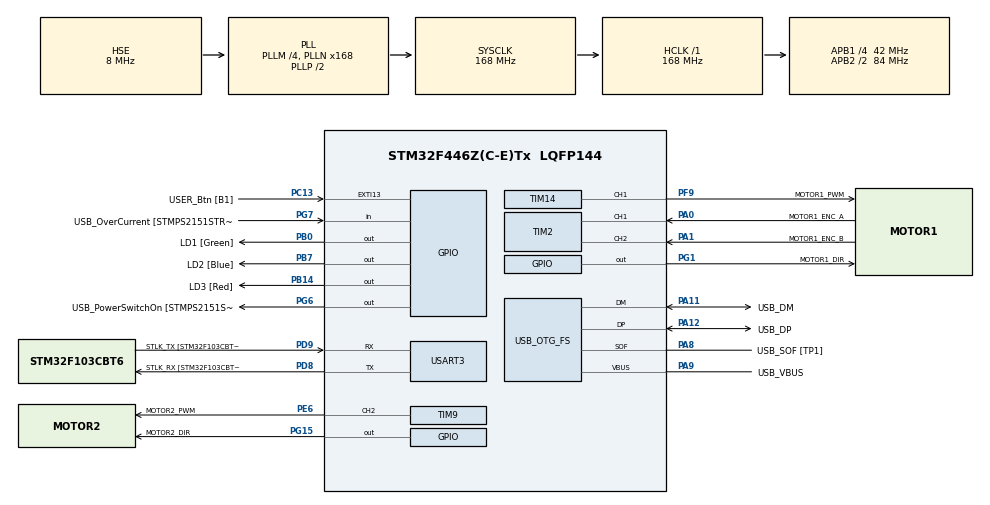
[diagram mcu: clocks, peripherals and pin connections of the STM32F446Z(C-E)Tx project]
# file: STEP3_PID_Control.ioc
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Mcu.Family=STM32F4
Mcu.Name=STM32F446Z(C-E)Tx
Mcu.Package=LQFP144
NVIC.PriorityGroup=NVIC_PRIORITYGROUP_4
NVIC.TIM6_DAC_IRQn=true\:0\:0\:false\:false\:true\:true\:true\:true
PA0-WKUP.GPIO_Label=MOTOR1_ENC_A
PA0-WKUP.GPIO_PuPd=GPIO_PULLUP
PA0-WKUP.Signal=S_TIM2_CH1_ETR
PA1.GPIO_Label=MOTOR1_ENC_B
PA1.GPIO_PuPd=GPIO_PULLUP
PA1.Signal=S_TIM2_CH2
PA10.GPIO_Label=USB_ID
PA10.Signal=USB_OTG_FS_ID
PA11.GPIO_Label=USB_DM
PA11.Mode=Device_Only
PA11.Signal=USB_OTG_FS_DM
PA12.GPIO_Label=USB_DP
PA12.Mode=Device_Only
PA12.Signal=USB_OTG_FS_DP
PA13.GPIO_Label=TMS
PA13.Mode=Serial_Wire
PA13.Signal=SYS_JTMS-SWDIO
PA14.GPIO_Label=TCK
PA14.Mode=Serial_Wire
PA14.Signal=SYS_JTCK-SWCLK
PA8.GPIO_Label=USB_SOF [TP1]
PA8.Mode=Activate_SOF_FS
PA8.Signal=USB_OTG_FS_SOF
PA9.GPIO_Label=USB_VBUS
PA9.Mode=Activate_VBUS
PA9.Signal=USB_OTG_FS_VBUS
PB0.GPIO_Label=LD1 [Green]
PB0.Signal=GPIO_Output
PB14.GPIO_Label=LD3 [Red]
PB14.Signal=GPIO_Output
PB7.GPIO_Label=LD2 [Blue]
PB7.Signal=GPIO_Output
PC13.GPIO_Label=USER_Btn [B1]
PC13.Signal=GPXTI13
PC14-OSC32_IN.Mode=LSE-External-Oscillator
PC14-OSC32_IN.Signal=RCC_OSC32_IN
PC15-OSC32_OUT.Mode=LSE-External-Oscillator
PC15-OSC32_OUT.Signal=RCC_OSC32_OUT
PD8.GPIO_Label=STLK_RX [STM32F103CBT6_PA3]
PD8.Mode=Asynchronous
PD8.Signal=USART3_TX
PD9.GPIO_Label=STLK_TX [STM32F103CBT6_PA2]
PD9.Mode=Asynchronous
PD9.Signal=USART3_RX
PE6.GPIO_Label=MOTOR2_PWM
PE6.GPIO_ModeDefaultPP=GPIO_MODE_AF_PP
PE6.GPIO_PuPd=GPIO_NOPULL
PE6.GPIO_Speed=GPIO_SPEED_FREQ_VERY_HIGH
PE6.Signal=S_TIM9_CH2
PF9.GPIO_Label=MOTOR1_PWM
PF9.GPIO_Speed=GPIO_SPEED_FREQ_VERY_HIGH
PF9.Signal=S_TIM14_CH1
PG1.GPIO_Label=MOTOR1_DIR
PG1.Signal=GPIO_Output
PG15.GPIO_Label=MOTOR2_DIR
PG15.Signal=GPIO_Output
PG6.GPIO_Label=USB_PowerSwitchOn [STMPS2151STR_EN]
PG6.Signal=GPIO_Output
PG7.GPIO_Label=USB_OverCurrent [STMPS2151STR_FAULT]
PG7.Signal=GPIO_Input
PH0-OSC_IN.GPIO_Label=MCO [STM32F103CBT6_PA8]
PH0-OSC_IN.Mode=HSE-External-Clock-Source
PH0-OSC_IN.Signal=RCC_OSC_IN
PH1-OSC_OUT.Mode=HSE-External-Clock-Source
PH1-OSC_OUT.Signal=RCC_OSC_OUT
ProjectManager.HeapSize=0x200
ProjectManager.StackSize=0x400
ProjectManager.TargetToolchain=STM32CubeIDE
RCC.48MHZClocksFreq_Value=24000000
RCC.AHBFreq_Value=168000000
RCC.APB1CLKDivider=RCC_HCLK_DIV4
RCC.APB1Freq_Value=42000000
RCC.APB1TimFreq_Value=84000000
RCC.APB2CLKDivider=RCC_HCLK_DIV2
RCC.APB2Freq_Value=84000000
RCC.APB2TimFreq_Value=168000000
RCC.CortexFreq_Value=168000000
RCC.HCLKFreq_Value=168000000
RCC.HSE_VALUE=8000000
RCC.HSI_VALUE=16000000
RCC.PLLM=4
RCC.PLLMUL=RCC_PLL_MUL9
RCC.PLLN=168
RCC.PLLQ=7
RCC.PRESCALERUSB=RCC_USBCLKSOURCE_PLL_DIV1_5
RCC.SYSCLKFreq_VALUE=168000000
RCC.SYSCLKSource=RCC_SYSCLKSOURCE_PLLCLK
RCC.SYSCLKSourceVirtual=RCC_SYSCLKSOURCE_PLLCLK
RCC.USBFreq_Value=48000000
RCC.VCOOutputFreq_Value=336000000
SH.S_TIM14_CH1.0=TIM14_CH1,PWM Generation1 CH1
SH.S_TIM2_CH1_ETR.0=TIM2_CH1,Encoder_Interface
SH.S_TIM2_CH2.0=TIM2_CH2,Encoder_Interface
SH.S_TIM9_CH2.0=TIM9_CH2,PWM Generation2 CH2
TIM14.Channel=TIM_CHANNEL_1
TIM14.Period=599
TIM14.Prescaler=6
TIM2.IC1Polarity=TIM_ICPOLARITY_FALLING
TIM2.IC2Polarity=TIM_ICPOLARITY_RISING
TIM6.Period=99
TIM6.Prescaler=8399
TIM9.Channel-PWM\ Generation2\ CH2=TIM_CHANNEL_2
TIM9.Period=1199
TIM9.Prescaler=6
USART3.VirtualMode=VM_ASYNC
USB_OTG_FS.VirtualMode=Device_Only
VP_TIM14_VS_ClockSourceINT.Mode=Enable_Timer
VP_TIM6_VS_ClockSourceINT.Mode=Enable_Timer
board=NUCLEO-F446ZE

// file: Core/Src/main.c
/* USER CODE BEGIN Header */
/**
  ******************************************************************************
  * @file           : main.c
  * @brief          : Main program body
  ******************************************************************************
  * @attention
  *
  * Copyright (c) 2026 STMicroelectronics.
  * All rights reserved.
  *
  * This software is licensed under terms that can be found in the LICENSE file
  * in the root directory of this software component.
  * If no LICENSE file comes with this software, it is provided AS-IS.
  *
  ******************************************************************************
  */
/* USER CODE END Header */
#include "main.h"
#include "tim.h"
#include "usart.h"
#include "usb_otg.h"
#include "gpio.h"

/* USER CODE BEGIN PTD */
typedef struct {
	float Kp;			// 비례 이득
	float Ki;			// 적분 이득
	float Kd;			// 미분 이득
	float dt;			// 제어 주기
	float prev_error;   // 이전 에러
	float error_sum;	// 적분 항목을 위한 최대 오차 누적값
	float max_output;	// 제어 출력 최대 한계치
	float min_output;	// 제어 출력 최소 한계치
} PID_Controller;
/* USER CODE END PTD */

/* USER CODE BEGIN PV */
PID_Controller motor1_pid;
volatile float target_rpm = 3.0f;
float current_rpm = 0.0f;
uint32_t current_count = 0;
uint32_t last_count = 0;
/* USER CODE END PV */

void SystemClock_Config(void);
/* USER CODE BEGIN PFP */
void SetMotor1SpeedPwm(int16_t pulse_value);
void PID_Init(PID_Controller *pid, float kp, float ki, float kd, float dt, float max_out, float min_out);
float PID_Update(PID_Controller *pid, float target, float current);
void PID_reset(PID_Controller *pid);
/* USER CODE END PFP */

int main(void)
{

  /* MCU Configuration--------------------------------------------------------*/

  /* Reset of all peripherals, Initializes the Flash interface and the Systick. */
  HAL_Init();

  /* Configure the system clock */
  SystemClock_Config();

  /* Initialize all configured peripherals */
  MX_GPIO_Init();
  MX_TIM2_Init();
  MX_USART3_UART_Init();
  MX_USB_OTG_FS_PCD_Init();
  MX_TIM9_Init();
  MX_TIM14_Init();
  MX_TIM6_Init();
  /* USER CODE BEGIN 2 */
  PID_Init(&motor1_pid, 0.5f, 2.0f, 0.3f, 0.01f, 599.0f, -599.0f);

  HAL_TIM_Encoder_Start(&htim2, TIM_CHANNEL_ALL);
  HAL_TIM_PWM_Start(&htim14, TIM_CHANNEL_1); // 모터 1
  HAL_TIM_Base_Start_IT(&htim6); // 10ms 주기 타이머 인터럽트 시작
  /* USER CODE END 2 */

  /* Infinite loop */
  while (1)
  {

  }
}

void SystemClock_Config(void)
{
  RCC_OscInitTypeDef RCC_OscInitStruct = {0};
  RCC_ClkInitTypeDef RCC_ClkInitStruct = {0};

  /** Configure the main internal regulator output voltage
  */
  __HAL_RCC_PWR_CLK_ENABLE();
  __HAL_PWR_VOLTAGESCALING_CONFIG(PWR_REGULATOR_VOLTAGE_SCALE1);

  /** Initializes the RCC Oscillators according to the specified parameters
  * in the RCC_OscInitTypeDef structure.
  */
  RCC_OscInitStruct.OscillatorType = RCC_OSCILLATORTYPE_HSE;
  RCC_OscInitStruct.HSEState = RCC_HSE_BYPASS;
  RCC_OscInitStruct.PLL.PLLState = RCC_PLL_ON;
  RCC_OscInitStruct.PLL.PLLSource = RCC_PLLSOURCE_HSE;
  RCC_OscInitStruct.PLL.PLLM = 4;
  RCC_OscInitStruct.PLL.PLLN = 168;
  RCC_OscInitStruct.PLL.PLLP = RCC_PLLP_DIV2;
  RCC_OscInitStruct.PLL.PLLQ = 7;
  RCC_OscInitStruct.PLL.PLLR = 2;
  if (HAL_RCC_OscConfig(&RCC_OscInitStruct) != HAL_OK)
  {
    Error_Handler();
  }

  /** Initializes the CPU, AHB and APB buses clocks
  */
  RCC_ClkInitStruct.ClockType = RCC_CLOCKTYPE_HCLK|RCC_CLOCKTYPE_SYSCLK
                              |RCC_CLOCKTYPE_PCLK1|RCC_CLOCKTYPE_PCLK2;
  RCC_ClkInitStruct.SYSCLKSource = RCC_SYSCLKSOURCE_PLLCLK;
  RCC_ClkInitStruct.AHBCLKDivider = RCC_SYSCLK_DIV1;
  RCC_ClkInitStruct.APB1CLKDivider = RCC_HCLK_DIV4;
  RCC_ClkInitStruct.APB2CLKDivider = RCC_HCLK_DIV2;

  if (HAL_RCC_ClockConfig(&RCC_ClkInitStruct, FLASH_LATENCY_5) != HAL_OK)
  {
    Error_Handler();
  }
}

/* USER CODE BEGIN 4 */
void SetMotor1SpeedPwm(int16_t pulse_value)
{
	if (pulse_value > 599) pulse_value = 599;
	if (pulse_value < -599) pulse_value = -599;

	if (pulse_value >= 0)
	{
		HAL_GPIO_WritePin(MOTOR1_DIR_GPIO_Port, MOTOR1_DIR_Pin, GPIO_PIN_SET);   // 정방향
		__HAL_TIM_SET_COMPARE(&htim14, TIM_CHANNEL_1, pulse_value);
	}
	else
	{
		HAL_GPIO_WritePin(MOTOR1_DIR_GPIO_Port, MOTOR1_DIR_Pin, GPIO_PIN_RESET);   // 역방향
		__HAL_TIM_SET_COMPARE(&htim14, TIM_CHANNEL_1, -pulse_value);
	}
}

void PID_Init(PID_Controller *pid, float kp, float ki, float kd, float dt, float max_out, float min_out)
{
	pid->Kp = kp;
	pid->Ki = ki;
	pid->Kd = kd;
	pid->dt = dt;
	pid->prev_error = 0.0;
	pid->error_sum = 0.0;
	pid->max_output = max_out;
	pid->min_output = min_out;
}

float PID_Update(PID_Controller *pid, float target, float current)
{
	float error = target - current;

	float p_term = pid->Kp * error;

	pid->error_sum += error * pid->dt;
	float i_term = pid->Ki * pid->error_sum;

	float d_term = pid->Kd * (error - pid->prev_error) / pid->dt;
	pid->prev_error = error;

	float output = p_term + i_term + d_term;

	if (output > pid->max_output)
	{
		output = pid->max_output;

		pid->error_sum -= error * pid->dt;
	}
	else if (output < pid -> min_output)
	{
		output = pid->min_output;
		pid->error_sum -= error * pid->dt;
	}

	return output;
}

void PID_reset(PID_Controller *pid)
{
	pid->error_sum = 0.0;
	pid->prev_error = 0.0;
}

void HAL_TIM_PeriodElapsedCallback(TIM_HandleTypeDef *htim)
{ // 10ms 주기가 도래했을 때
	if (htim->Instance == TIM6)
	{
		// 1. 엔코더 레지스터에서 현재 카운트 정밀 수집
		current_count = TIM2->CNT;

		// 2. 2의 보수 연산을 통한 변위(Delta) 추출 (오버플로우 자동 처리)
		int32_t delta_count = (int32_t)(current_count - last_count);
		last_count = current_count;

		// 3. 델타 카운트를 현재 출력축 RPM으로 변환
		// 공식: (delta / (CPR * 기어비)) * (60초 / 0.01초)
		// 예시 수치: 26 CPR, 100:1 기어 기준
		float cpr = 26.0f;
		float gear_ratio = 100.0f;
		current_rpm = ((float)delta_count / (cpr * gear_ratio)) * 6000.0f;

		// 4. PI 제어기 업데이트 수행 ➡️ 출력값은 듀티비 정수 펄스로 환산됨 (-599 ~ 599)
		float control_output = PID_Update(&motor1_pid, target_rpm, current_rpm);

		// 5. 앞서 구현한 오픈 루프 함수에 제어 출력 대입하여 모터 전압 인가
		SetMotor1SpeedPwm((int16_t)control_output);
	}
}
/* USER CODE END 4 */

void Error_Handler(void)
{
  __disable_irq();
  while (1)
  {
  }
}
